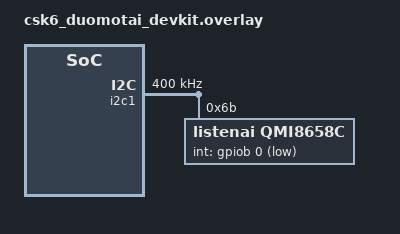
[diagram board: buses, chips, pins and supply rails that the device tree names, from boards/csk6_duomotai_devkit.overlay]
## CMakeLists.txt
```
# SPDX-License-Identifier: Apache-2.0

cmake_minimum_required(VERSION 3.20.0)
set(SUPPORT_BOARDS csk6_duomotai_devkit)
if(NOT ${BOARD} IN_LIST SUPPORT_BOARDS)
    message("Please choose one of the following boards:")
    foreach(item ${SUPPORT_BOARDS})
        message(STATUS ${item})
    endforeach()
    message(FATAL_ERROR "\nThe project does not support the ${BOARD}")
endif()
find_package(Zephyr REQUIRED HINTS $ENV{ZEPHYR_BASE})
project(qmi8658c_test)

target_sources(app PRIVATE src/main.c)
```

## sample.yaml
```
sample:
  name: QMI8658C Sensor Test
tests:
  sample.sensor.qmi8658c.test:
    build_only: true
    platform_allow: csk6_duomotai_devkit
    tags: sensors
    integration_platforms:
      - csk6_duomotai_devkit
```

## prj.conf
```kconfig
CONFIG_STDOUT_CONSOLE=y
CONFIG_I2C=y
CONFIG_GPIO=y
CONFIG_SENSOR=y
CONFIG_QMI8658C=y

CONFIG_QMI8658C_TRIGGER=y
CONFIG_QMI8658C_TRIGGER_GLOBAL_THREAD=y

CONFIG_LOG=y
CONFIG_SENSOR_LOG_LEVEL_DBG=y
CONFIG_I2C_LOG_LEVEL_DBG=y

CONFIG_CBPRINTF_FP_SUPPORT=y
```

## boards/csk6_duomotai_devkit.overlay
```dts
/*
 * Copyright (c) 2025 Anhui(Shenzhen) Listenai Co., Ltd.
 *
 * SPDX-License-Identifier: Apache-2.0
 */
&pinctrl {
    pinctrl_i2c1_scl_default: i2c1_scl_default {
        pinctrls = <I2C1_SCL_GPIOB_09>;
    };

    pinctrl_i2c1_sda_default: i2c1_sda_default {
        pinctrls = <I2C1_SDA_GPIOB_08>;
    };
};

/ {
    aliases {
        qmi8658c = &qmi8658c;
    };
};

&i2c1 {
    status = "okay";
    pinctrl-0 = <&pinctrl_i2c1_scl_default &pinctrl_i2c1_sda_default>;
    pinctrl-names = "default";
    clock-frequency = <400000>;

    qmi8658c: qmi8658c@6b {
        compatible = "listenai,qmi8658c";
        reg = <0x6b>;
        status = "okay";
        int-gpios = <&gpiob 0 GPIO_ACTIVE_LOW>;
    };
};
```

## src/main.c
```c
/*
 * Copyright (c) 2025 Anhui Listenai Co., Ltd.
 *
 * SPDX-License-Identifier: Apache-2.0
 */

#include <math.h>

#include <zephyr/drivers/i2c.h>
#include <zephyr/drivers/sensor.h>
#include <zephyr/kernel.h>
#include <zephyr/sys/printk.h>

#define SLEEP_TIME_MS	      1000
#define QMI8658C_I2C_ADDR     0x6B
#define QMI8658C_WHO_AM_I_REG 0x00
#define QMI8658C_WHO_AM_I_VAL 0x05
#define QMI8658C_CTRL1	      0x02
#define QMI8658C_CTRL7	      0x08
#define QMI8658C_CTRL8	      0x09


static void trigger_handler(const struct device *dev, const struct sensor_trigger *trigger)
{
	int ret;
	struct sensor_value accel[3], gyro[3], temperature;

	ret = sensor_sample_fetch(dev);
	if (ret != 0) {
		printk("sensor_sample_fetch failed: %d\n", ret);
		return;
	}

	ret = sensor_channel_get(dev, SENSOR_CHAN_ACCEL_XYZ, accel);
	if (ret == 0) {
		printk("Accel (m/s^2): X=%.2f, Y=%.2f, Z=%.2f\n", sensor_value_to_double(&accel[0]),
		       sensor_value_to_double(&accel[1]), sensor_value_to_double(&accel[2]));
	}

	ret = sensor_channel_get(dev, SENSOR_CHAN_GYRO_XYZ, gyro);
	if (ret == 0) {
		printk("Gyro (rad/s): X=%.2f, Y=%.2f, Z=%.2f\n", sensor_value_to_double(&gyro[0]),
		       sensor_value_to_double(&gyro[1]), sensor_value_to_double(&gyro[2]));
	}

	ret = sensor_channel_get(dev, SENSOR_CHAN_DIE_TEMP, &temperature);
	if (ret == 0) {
		printk("Temperature: %.2f °C\n", sensor_value_to_double(&temperature));
	}
}

int main(void)
{
	const struct device *dev = DEVICE_DT_GET(DT_NODELABEL(qmi8658c));
	const struct device *i2c_dev = DEVICE_DT_GET(DT_NODELABEL(i2c1));

	printk("QMI8658C INT test start\n");

	if (!device_is_ready(i2c_dev)) {
		printk("I2C bus not ready\n");
		return -1;
	}

	if (!device_is_ready(dev)) {
		printk("QMI8658C device not found\n");
		return -1;
	}

	struct sensor_trigger trigger = {
		.type = SENSOR_TRIG_DATA_READY,
		.chan = SENSOR_CHAN_ALL,
	};

	if (sensor_trigger_set(dev, &trigger, trigger_handler) < 0) {
		printk("Cannot configure trigger\n");
		return -1;
	}

	printk("Configured for triggered sampling.\n");
	printk("Move the sensor to generate interrupts!\n");

	while (1) {
		k_sleep(K_MSEC(1000));
	}

	return 0;
}
```
